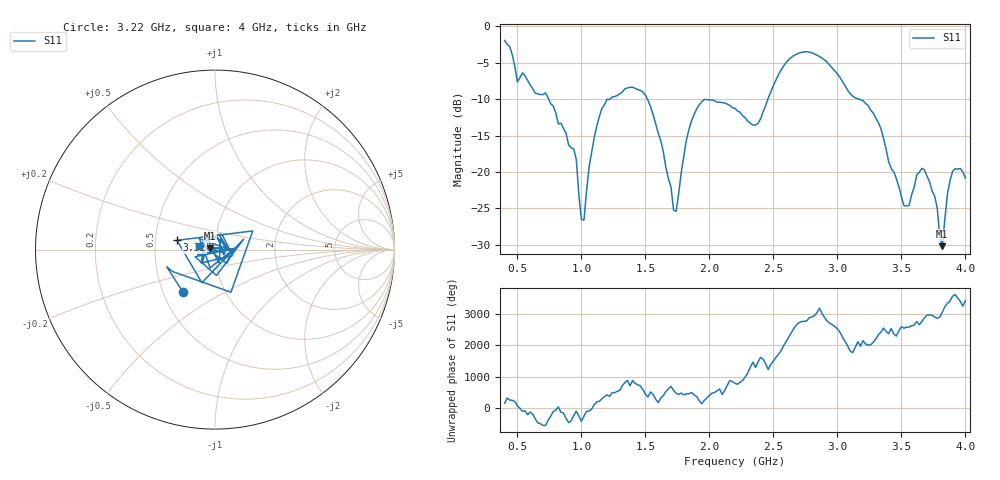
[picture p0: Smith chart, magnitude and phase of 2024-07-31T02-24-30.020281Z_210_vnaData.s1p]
!Created with skrf (http://scikit-rf.org).
# Hz S RI R 50.0
!freq ReS11 ImS11
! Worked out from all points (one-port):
!   181 points, 400 MHz to 4 GHz, reference 50 ohm
!   lowest |S11| = -30.2 dB at 3.82 GHz (marker M1), VSWR 1.06, Z = 47.1 + j0.782 ohm
!   |S11| at or under -10 dB: 744.4 MHz to 1.224 GHz (479.7 MHz wide, 48.7 % of centre); 1.515 GHz to 2.457 GHz (941.4 MHz wide, 47.4 % of centre); 3.166 GHz to end of sweep
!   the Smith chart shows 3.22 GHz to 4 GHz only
!   S11 on the Smith chart (normalised r, x): 3.22 GHz: 0.63, -0.32; 3.32 GHz: 0.65, +0.07; 4 GHz: 0.84, +0.04
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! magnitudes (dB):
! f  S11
! 400 MHz  -2.0
! 500 MHz  -7.6
! 720 MHz  -9.2
! 860 MHz  -14.0
! 960 MHz  -18.3
! 1 GHz  -26.5
! 1.02 GHz  -26.6
! 1.06 GHz  -19.3
! 1.14 GHz  -12.4
! 1.3 GHz  -9.3
! 1.5 GHz  -9.5
! 1.62 GHz  -15.7
! 1.72 GHz  -25.2
! 1.76 GHz  -23.0
! 1.82 GHz  -15.6
! 1.92 GHz  -10.8
! 2.2 GHz  -11.3
! 2.38 GHz  -13.3
! 2.66 GHz  -4.0
! 3.1 GHz  -9.3
! 3.22 GHz  -10.6
! 3.32 GHz  -13.2
! 3.56 GHz  -24.6
! 3.68 GHz  -19.7
! 3.76 GHz  -23.3
! 3.82 GHz  -30.2
! 3.9 GHz  -19.9
! 4 GHz  -20.8
